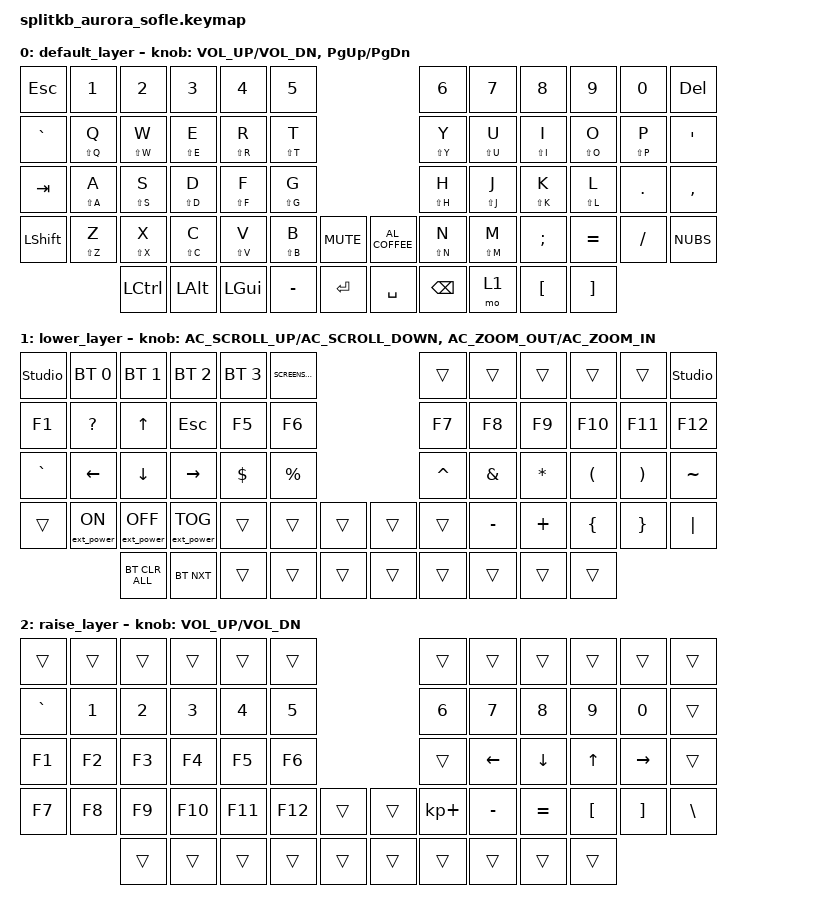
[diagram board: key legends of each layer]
/*
 * Copyright (c) 2023 The ZMK Contributors
 *
 * SPDX-License-Identifier: MIT
 */

#include <behaviors.dtsi>
#include <dt-bindings/zmk/keys.h>
#include <dt-bindings/zmk/bt.h>
#include <dt-bindings/zmk/ext_power.h>

/* Uncomment this block if using RGB
&led_strip {
    chain-length = <6>;
    // chain-length = <35>; // Uncomment if using both per-key and underglow LEDs
    // chain-length = <29>; // Uncomment if using only per-key LEDs.
};
 */
#define DEFAULT 0
#define LOWER   1
#define RAISE   2
/ {
    // Define macros here
    macros {
        screenshot: screenshot {
            label = "screenshot";
            compatible = "zmk,behavior-macro";
            #binding-cells = <0>;
            bindings
                = <&macro_press &kp LGUI &kp LSHFT>
                , <&macro_tap &kp S>
                , <&macro_release &kp LSHFT &kp LGUI>
                ;
        };
        
        // Example of another macro for Command+Space (Spotlight)
        spotlight: spotlight {
            label = "spotlight";
            compatible = "zmk,behavior-macro";
            #binding-cells = <0>;
            bindings
                = <&macro_press &kp LGUI>
                , <&macro_tap &kp SPACE>
                , <&macro_release &kp LGUI>
                ;
        };
    };
    
    // Define custom behaviors here
    behaviors {
        as: auto_shift {
            compatible = "zmk,behavior-hold-tap";
            label = "AUTO_SHIFT";
            #binding-cells = <2>;
            tapping-term-ms = <200>;
            quick-tap-ms = <0>;
            flavor = "tap-preferred";
            bindings = <&kp>, <&kp>;
        };
    };
    keymap {
        compatible = "zmk,keymap";

        default_layer {
// ------------------------------------------------------------------------------------------------------------
// |  ESC  |  1  |  2  |  3   |  4   |  5   |                   |  6   |  7    |  8    |  9   |   0   |   `   |
// |  GRAVE |  Q  |  W  |  E   |  R   |  T   |                   |  Y   |  U    |  I    |  O   |   P   |   -   |
// |  TAB  |  A  |  S  |  D   |  F   |  G   |                   |  H   |  J    |  K    |  L   |   .   |   ,   |
// | SHIFT |  Z  |  X  |  C   |  V   |  B   |   C_MUTE  |  |  C_AL_COFFEE  |  N   |  M    |  ;    |  .   |   =   | | |
//               |CTRL | ALT  | GUI  |  -   |  ENTER |  | SPACE | BSPC | LOWER  | LBKT   | RBKT |
            bindings = <
&kp ESC    &kp N1 &kp N2    &kp N3   &kp N4   &kp N5                     &kp N6 &kp N7   &kp N8    &kp N9   &kp N0   &kp DEL
&kp GRAVE  &as LS(Q) Q  &as LS(W) W  &as LS(E) E  &as LS(R) R  &as LS(T) T  &as LS(Y) Y  &as LS(U) U  &as LS(I) I  &as LS(O) O  &as LS(P) P  &kp APOS
&kp TAB &as LS(A) A  &as LS(S) S  &as LS(D) D  &as LS(F) F  &as LS(G) G  &as LS(H) H  &as LS(J) J  &as LS(K) K  &as LS(L) L  &kp DOT &kp COMMA
&kp LSHFT &as LS(Z) Z  &as LS(X) X  &as LS(C) C  &as LS(V) V  &as LS(B) B  &kp C_MUTE   &kp C_AL_COFFEE &as LS(N) N  &as LS(M) M  &kp SEMI &kp EQUAL  &kp FSLH &kp NUBS
&kp LCTRL &kp LALT &kp LGUI &kp MINUS  &kp RET  &kp SPACE  &kp BSPC  &mo 1 &kp LBKT  &kp RBKT             >;

            sensor-bindings = <&inc_dec_kp C_VOL_UP C_VOL_DN &inc_dec_kp PG_UP PG_DN>;
        };

        lower_layer {
// ------------------------------------------------------------------------------------------------------------
// | BTCLR | BT1 | BT2 |  BT3 |  BT4 |  BT5 |                   |      |       |       |      |       |       |
// |  F1   |  F2 |  F3 |  F4  |  F5  |  F6  |                   |  F7  |  F8   |  F9   |  F10 |  F11  |  F12  |
// |   `   |  !  |  @  |  #   |  $   |  %   |                   |  ^   |  &    |  *    |  (   |   )   |   ~   |
// |       |     |     |      |      |      |        |  |       |      |  _    |  +    |  {   |   }   |  "|"  |
//               |     |      |      |      |        |  |       |      |       |       |      |
            bindings = <
&studio_unlock &bt BT_SEL 0     &bt BT_SEL 1      &bt BT_SEL 2      &bt BT_SEL 3 &kp K_SCREENSAVER                &trans    &trans    &trans    &trans    &trans    &studio_unlock
&kp F1     &kp QMARK           &kp UP            &kp ESC            &kp F5       &kp F6                       &kp F7    &kp F8    &kp F9    &kp F10   &kp F11   &kp F12
&kp GRAVE  &kp LEFT         &kp DOWN           &kp RIGHT          &kp DOLLAR   &kp PRCNT                    &kp CARET &kp AMPS  &kp STAR  &kp LPAR  &kp RPAR  &kp TILDE
&trans     &ext_power EP_ON &ext_power EP_OFF &ext_power EP_TOG &trans       &trans    &trans   &trans    &trans    &kp MINUS &kp PLUS  &kp LBRC  &kp RBRC  &kp PIPE
                            &bt BT_CLR_ALL           &bt BT_NXT            &trans       &trans    &trans   &trans    &trans    &trans    &trans    &trans
            >;

            sensor-bindings = <&inc_dec_kp C_AC_SCROLL_UP C_AC_SCROLL_DOWN &inc_dec_kp C_AC_ZOOM_OUT C_AC_ZOOM_IN>;

        };

        raise_layer {
// ------------------------------------------------------------------------------------------------------------
// |       |     |     |      |      |      |                   |      |       |       |      |       |       |
// |   `   |  1  |  2  |  3   |  4   |  5   |                   |  6   |   7   |   8   |  9   |   0   |       |
// |   F1  |  F2 |  F3 |  F4  |  F5  |  F6  |                   |      |   <-  |   v   |  ^   |  ->   |       |
// |   F7  |  F8 |  F9 |  F10 |  F11 |  F12 |        |  |       |  +   |   -   |   =   |  [   |   ]   |   \   |
//               |     |      |      |      |        |  |       |      |       |       |      |
            bindings = <
&trans    &trans &trans &trans  &trans  &trans                       &trans      &trans    &trans    &trans   &trans    &trans
&kp GRAVE &kp N1 &kp N2 &kp N3  &kp N4  &kp N5                       &kp N6      &kp N7    &kp N8    &kp N9   &kp N0    &trans
&kp F1    &kp F2 &kp F3 &kp F4  &kp F5  &kp F6                       &trans      &kp LEFT  &kp DOWN  &kp UP   &kp RIGHT &trans
&kp F7    &kp F8 &kp F9 &kp F10 &kp F11 &kp F12   &trans   &trans    &kp KP_PLUS &kp MINUS &kp EQUAL &kp LBKT &kp RBKT  &kp BSLH
                 &trans &trans  &trans  &trans    &trans   &trans    &trans      &trans    &trans    &trans
            >;

            sensor-bindings = <&inc_dec_kp C_VOL_UP C_VOL_DN>;
        };
    };
};
